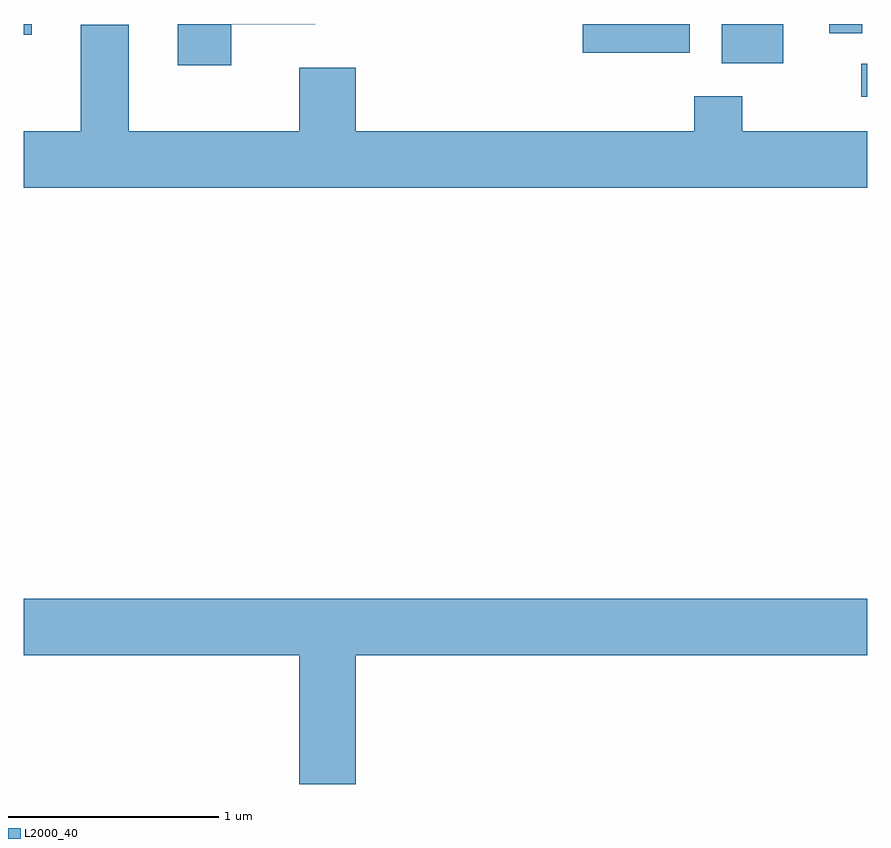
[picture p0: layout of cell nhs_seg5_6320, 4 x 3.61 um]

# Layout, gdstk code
import gdstk
lib = gdstk.Library(unit=1e-6, precision=1e-09)
def R(c, l, rs):  # rectangles x0, y0, x1, y1
    for r in rs: c.add(gdstk.rectangle(r[:2], r[2:], *l))
def P(c, l, *ps):  # polygons
    for p in ps: c.add(gdstk.Polygon(p, *l))
L2000_40 = (2000, 40)

nhs_seg5_6320 = lib.new_cell('nhs_seg5_6320')
R(nhs_seg5_6320, L2000_40, [(377.583,1401.726,377.611,1401.884), (376.921,1401.886,377.214,1402.072), (376.263,1401.936,376.769,1402.072), (373.611,1402.021,373.649,1402.072), (377.431,1402.028,377.589,1402.072)])
P(nhs_seg5_6320, L2000_40, [(374.594,1402.071),(374.994,1402.071),(374.994,1402.072),(374.341,1402.072),(374.341,1401.876),(374.594,1401.876)],
  [(377.611,1401.564),(377.019,1401.564),(377.019,1401.729),(376.791,1401.729),(376.791,1401.564),(375.184,1401.564),(375.184,1401.864),(374.916,1401.864),(374.916,1401.564),(374.109,1401.564),(374.109,1402.069),(373.881,1402.069),(373.881,1401.564),(373.611,1401.564),(373.611,1401.296),(377.611,1401.296)],
  [(375.184,1399.076),(377.611,1399.076),(377.611,1399.344),(373.611,1399.344),(373.611,1399.076),(374.916,1399.076),(374.916,1398.466),(375.184,1398.466)])

lib.write_gds('nhs_seg5_6320.gds')
